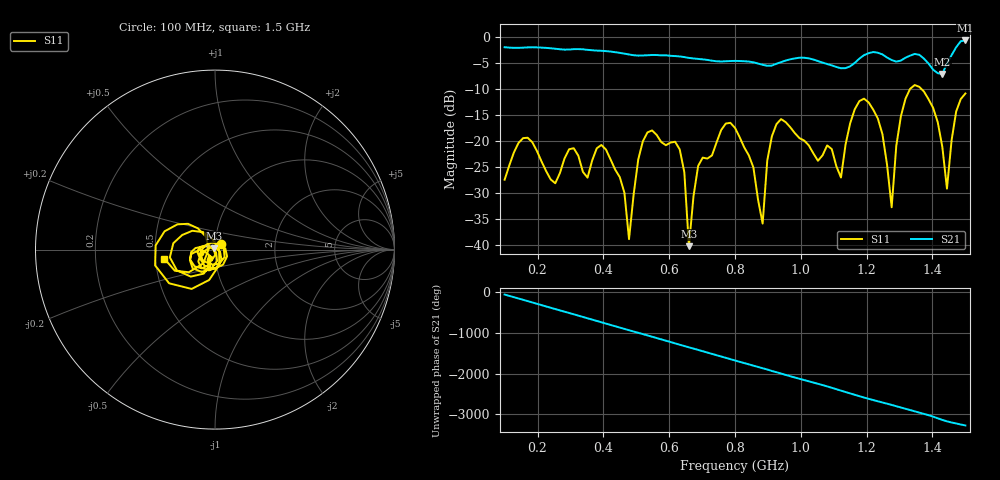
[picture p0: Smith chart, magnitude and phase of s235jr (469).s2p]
! NanoVNA-App
! Date: 2025-09-25 15:07:48
! Start: 100MHz Stop: 1,5GHz Points: 101
! S-Parameter data: F S11 S21 S12 S22
# Hz S RI R 50
!  Frequency  S11_Real  S11_Imag  S21_Real  S21_Imag  S12_Real  S12_Imag  S22_Real  S22_Imag
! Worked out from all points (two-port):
!   101 points, 100 MHz to 1.5 GHz, reference 50 ohm
!   highest |S21| = -0.66 dB at 1.5 GHz (marker M1); lowest = -7.1 dB at 1.43 GHz (marker M2)
!   |S21| within 3 dB of the highest: start of sweep to 616.9 MHz; 1.188 GHz to 1.255 GHz (67.02 MHz wide, 5.49 % of centre) (the widest 2 of 4)
!   lowest |S11| = -40.3 dB at 660 MHz (marker M3), VSWR 1.02, Z = 49.3 + j0.611 ohm
!   |S11| at or under -10 dB: start of sweep to 1.332 GHz; 1.366 GHz to end of sweep
!   S12 and S22 are empty: the file has one direction only
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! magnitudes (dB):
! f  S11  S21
! 100 MHz  -27.5  -2.0
! 156 MHz  -19.5  -2.0
! 338 MHz  -26.0  -2.4
! 408 MHz  -21.7  -2.7
! 478 MHz  -38.9  -3.4
! 520 MHz  -20.1  -3.6
! 576 MHz  -20.2  -3.5
! 632 MHz  -21.6  -3.7
! 660 MHz  -40.3  -4.0
! 688 MHz  -24.8  -4.2
! 800 MHz  -17.5  -4.6
! 884 MHz  -35.9  -5.3
! 926 MHz  -16.8  -5.1
! 1.038 GHz  -22.4  -4.3
! 1.122 GHz  -27.0  -6.0
! 1.192 GHz  -11.9  -3.5
! 1.248 GHz  -18.7  -3.3
! 1.276 GHz  -32.8  -4.4
! 1.332 GHz  -10.0  -3.6
! 1.43 GHz  -21.2  -7.1
! 1.444 GHz  -29.2  -5.1
! 1.5 GHz  -10.9  -0.7
